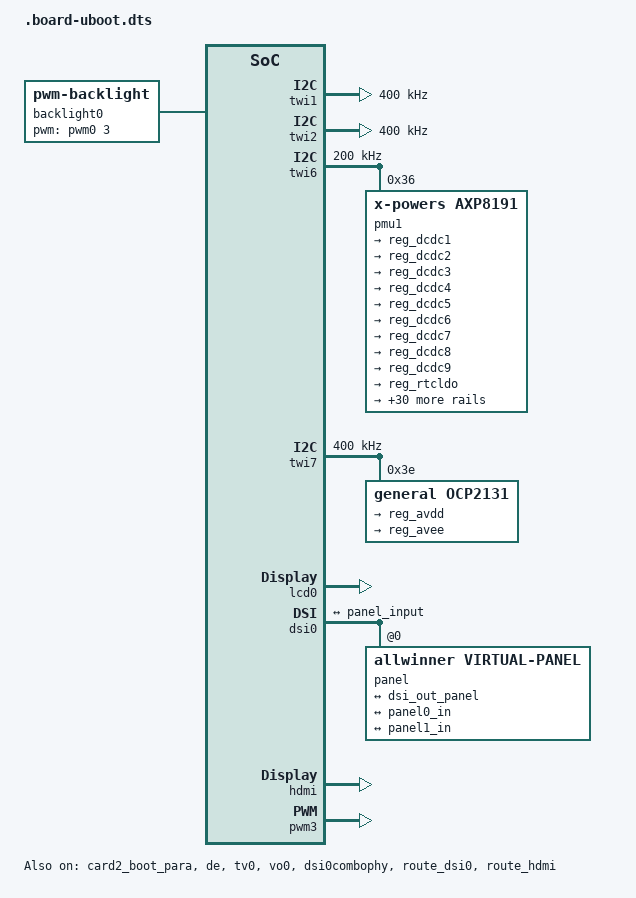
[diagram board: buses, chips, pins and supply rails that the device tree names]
/*
 * Allwinner Technology CO., Ltd. sun60iw2p1 soc board.
 *
 * soc board support.
 */

/ {
	backlight0: backlight0 {
		compatible = "pwm-backlight";
		status = "okay";
		brightness-levels = <
			  0   1   2   3   4   5   6   7
			  8   9  10  11  12  13  14  15
			 16  17  18  19  20  21  22  23
			 24  25  26  27  28  29  30  31
			 32  33  34  35  36  37  38  39
			 40  41  42  43  44  45  46  47
			 48  49  50  51  52  53  54  55
			 56  57  58  59  60  61  62  63
			 64  65  66  67  68  69  70  71
			 72  73  74  75  76  77  78  79
			 80  81  82  83  84  85  86  87
			 88  89  90  91  92  93  94  95
			 96  97  98  99 100 101 102 103
			104 105 106 107 108 109 110 111
			112 113 114 115 116 117 118 119
			120 121 122 123 124 125 126 127
			128 129 130 131 132 133 134 135
			136 137 138 139 140 141 142 143
			144 145 146 147 148 149 150 151
			152 153 154 155 156 157 158 159
			160 161 162 163 164 165 166 167
			168 169 170 171 172 173 174 175
			176 177 178 179 180 181 182 183
			184 185 186 187 188 189 190 191
			192 193 194 195 196 197 198 199
			200 201 202 203 204 205 206 207
			208 209 210 211 212 213 214 215
			216 217 218 219 220 221 222 223
			224 225 226 227 228 229 230 231
			232 233 234 235 236 237 238 239
			240 241 242 243 244 245 246 247
			248 249 250 251 252 253 254 255>;
		default-brightness-level = <73>;
		pwms = <&pwm0 3 25000 0>;
	};

	panel_0: panel_0@0 {
		status = "okay";
		power-delay-ms = <10>;
		power0-supply = <&reg_dc1sw1>;
		power1-supply = <&reg_bldo2>;

		enable0-gpios = <&pio PH 19 1 0 3 1>;
		enable1-gpios = <&pio PH 9 1 0 3 1>;
		enable2-gpios = <&pio PH 10 1 0 3 1>;
		// reset-num = <2>;
		// reset-delay-ms = <10>;
		reset-on-sequence = <1 10>, <0 10>, <1 10>, <0 10>, <1 120>;
		reset-off-sequence = <0 120>;
		reset-gpios = <&pio PD 15 1 0 3 1>;
		backlight = <&backlight0>;
		width-mm = <143>;
		height-mm = <238>;
		// panel-id-value = [da 83];
		dsi,flags = <MIPI_DSI_MODE_VIDEO>;
		dsi,lanes = <4>;
		dsi,format = <0>;
		panel-init-sequence = [
			39 00 04 B9 83 10 2E
			15 00 02 E9 C3
			15 00 02 D0 05
			15 00 02 E9 00
			39 00 05 D1 67 0C FF 05
			39 00 12 B1 10 FA AF AF 2D 2D A2 44 58 38 38 38 38 22 21 15 00
			39 00 03 D2 2D 2D
			39 00 11 B2 00 B0 47 80 00 2C 48 30 11 11 00 00 15 20 D7 00
			39 00 0C B4 88 64 01 01 88 64 88 64 01 90 01
			39 00 09 BA 70 03 A8 85 F2 00 C0 0D
			39 00 04 BF FC 85 80
			39 00 0f C0 23 23 22 11 A2 17 00 80 00 00 08 00 63 63
			15 00 02 C7 30
			39 00 09 C8 00 04 04 00 00 82 13 01
			39 00 06 CB 00 13 08 02 4D
			15 00 02 CC 02
			39 00 2c D3 00 00 00 00 3C 04 00 00 00 4B 40 A4 4F 2B 2B 04 04 32 10 25 00 25 32 17 AB 07 AB 32 17 B0 07 B0 00 00 21 38 01 55 21 38 01 55 0F
			39 00 2d D5 18 18 18 18 18 18 3A 3A 18 18 18 18 2A 2B 1A 1A 1B 1B 24 25 26 27 28 29 2A 2B 00 01 02 03 04 05 06 07 08 09 0A 0B 20 21 18 18 18 18
			39 00 19 D8 AA AA AA AA AA A0 AA AA AA AA AA A0 AA AA EA AA AA A0 AA AA EA AA AA A0
			39 00 2f E0 00 04 0C 12 18 25 3B 41 47 43 5D 63 69 79 76 7D 85 98 97 4A 53 5C 63 00 04 0C 12 18 25 3B 41 47 43 5D 63 69 79 76 7D 85 98 97 4A 53 5C 63
			39 00 18 E7 12 13 02 02 55 00 0E 0E 00 26 27 76 29 76 01 01 00 00 00 00 17 00 68
			15 00 02 BD 01
			39 00 05 B1 01 9B 01 31
			39 00 0b CB F4 36 12 16 C0 28 6C 85 3F 04
			39 00 0c D3 01 00 F8 00 00 11 10 00 0A 00 01
			39 00 19 D8 FF FF FF FF FF F0 FF FF FF FF FF F0 55 55 55 55 55 55 55 55 55 55 55 55
			39 00 08 E7 02 2C 01 8D 0D CD 0E
			15 00 02 BD 02
			39 00 07 B4 4E 00 33 11 33 88
			39 00 04 BF F2 00 02
			39 00 06 CB 00 03 00 01 99
			39 00 0d D8 FF FF FF FF FF F0 FF FF FF FF FF F0
			39 00 1d E7 FD 01 FD 01 00 00 24 00 00 00 00 00 00 00 00 00 00 00 00 00 00 00 00 00 81 01 02 40
			15 00 02 BD 03
			39 00 19 D8 AA AB EA AA AA A0 AA AB EA AA AA A0 AA BF EA BF FE A0 AA BF EA BF FE A0
			15 00 02 BD 00
			15 00 02 E9 CD
			15 00 02 BB 01
			15 00 02 E9 00
			39 00 03 B8 40 00
			15 00 02 BD 01
			15 00 02 B8 15
			15 00 02 BD 00
			39 00 03 E1 00 01
			39 00 03 BE 01 96
			15 00 02 D9 3F
			39 00 04 B9 00 00 00
			15 96 02 11 00
			15 32 02 29 00
		];
		panel-exit-sequence = [
			05 00 01 28
			05 78 01 10
		];

		display-timings {
			native-mode = <&timing1>;
			timing1: timing1 {
				clock-frequency = <153950000>;
				hback-porch = <22>;
				hactive = <1200>;
				hfront-porch = <28>;
				hsync-len = <8>;
				vback-porch = <38>;
				vactive = <1920>;
				vfront-porch = <72>;
				vsync-len = <8>;

				// clock-frequency = <153960480>;
				// hback-porch = <19>;
				// hactive = <1200>;
				// hfront-porch = <28>;
				// hsync-len = <8>;
				// vback-porch = <52>;
				// vactive = <1920>;
				// vfront-porch = <63>;
				// vsync-len = <8>;
			};
		};
		port {
			panel0_in: endpoint@0 {
				reg = <0>;
                                remote-endpoint = <&panel_output_0>;
                        };
		};
	};

	panel_1: panel_1@0 {
		status = "disabled";
		power-delay-ms = <50>;
		power0-supply = <&reg_bldo2>;

		enable0-gpios = <&pio PH 19 1 0 3 1>;
		enable1-gpios = <&pio PH 9 1 0 3 1>;
		enable2-gpios = <&pio PH 10 1 0 3 1>;
		reset-num = <2>;
		reset-delay-ms = <10>;
		reset-gpios = <&pio PD 15 1 0 3 1>;
		backlight = <&backlight0>;
		width-mm = <143>;
		height-mm = <238>;
		dsi,flags = <MIPI_DSI_MODE_VIDEO>;
		dsi,lanes = <4>;
		dsi,format = <0>;
		panel-init-sequence = [
			15 96 02 11 00
			15 32 02 29 00
		];

		panel-exit-sequence = [
			05 00 01 28
			05 78 01 10
		];

		display-timings {
			native-mode = <&timing0>;
			timing0: timing0 {
				clock-frequency = <156993120>;
				hback-porch = <20>;
				hactive = <1200>;
				hfront-porch = <28>;
				hsync-len = <8>;
				vback-porch = <30>;
				vactive = <1920>;
				vfront-porch = <132>;
				vsync-len = <8>;
			};
		};
		port {
			panel1_in: endpoint@0 {
				reg = <0>;
                                remote-endpoint = <&panel_output_1>;
                        };
		};
	};
};

&soc {
	key_detect_en: key_detect_en {
		key_type = "gpiokey";
		volume-down-gpios = <&pio PB 0 0 1 3 1>; /* PB0: vol- */
		volume-up-gpios = <&pio PB 1 0 1 3 1>; /* PB1: vol+ */
		active-level = <0>;
	};
};

&platform {
	eraseflag   = <1>;
	next_work   = <3>;
	debug_mode  = <4>;
};

&target {
	boot_clock = <1008>;	/*CPU boot frequency, Unit: MHz*/
	storage_type = <0xffffffff>; /*boot medium, 0-nand, 1-card0, 2-card2, -1(defualt)auto scan*/
	burn_key = <1>;		/*1:support burn key; 0:not support burn key*/
	dragonboard_test = <0>;	/*1:support card boot dragonboard; 0:not support card boot dragonboard*/
	auto_fel = <1>;
};

&power_sply {
	ntc_status = <2>;
};

&charger0 {
	pmu_safe_vol = <3400>;
	bat_bmp_type = <1>;
	ntc_cur = <60>;
	safe_temp_H = <600>;//60
	safe_temp_L = <0xFFFFFF06>; // -25 (FFFFFFFF - FA(250))
	pmu_bat_temp_para1 = <5450>; //Murata -25
	pmu_bat_temp_para2 = <3315>; //-15
	pmu_bat_temp_para3 = <2616>; //-10
	pmu_bat_temp_para4 = <2079>; //-5
	pmu_bat_temp_para5 = <1664>;//0
	pmu_bat_temp_para6 = <1340>; //5
	pmu_bat_temp_para7 = <1086>; //10
	pmu_bat_temp_para8 = <727>; //20
	pmu_bat_temp_para9 = <498>; //30
	pmu_bat_temp_para10 = <348>; //40
	pmu_bat_temp_para11 = <293>; //45
	pmu_bat_temp_para12 = <248>; //50
	pmu_bat_temp_para13 = <211>; //55
	pmu_bat_temp_para14 = <180>; //60
	pmu_bat_temp_para15 = <133>; //70
	pmu_bat_temp_para16 = <100>; //80
};

&twi1_pins_a {
	allwinner,pins = "PH2", "PH3";
	allwinner,pname = "twi1_scl", "twi1_sda";
	allwinner,function = "twi1";
	allwinner,muxsel = <2>;
	allwinner,drive = <1>;
	allwinner,pull = <1>;
};

&twi1_pins_b {
	allwinner,pins = "PH2", "PH3";
	allwinner,function = "gpio_out";
	allwinner,muxsel = <1>;
	allwinner,drive = <1>;
	allwinner,pull = <1>;
};

&twi1 {
	clock-frequency = <400000>;
	pinctrl-0 = <&twi1_pins_a>;
	pinctrl-1 = <&twi1_pins_b>;
	twi-supply = <&reg_dc1sw2>;
	status = "okay";
};

&twi2_pins_a {
       allwinner,pins = "PD22", "PD23";
       allwinner,pname = "twi0_scl", "twi0_sda";
       allwinner,function = "twi0";
       allwinner,muxsel = <7>;
       allwinner,drive = <1>;
       allwinner,pull = <1>;
};

&twi2_pins_b {
       allwinner,pins = "PD22", "PD23";
       allwinner,function = "gpio_out";
       allwinner,muxsel = <1>;
       allwinner,drive = <1>;
       allwinner,pull = <1>;
};

&twi7_pins_a {
       allwinner,pins = "PJ22", "PJ23";
       allwinner,pname = "twi7_scl", "twi7_sda";
       allwinner,function = "twi7";
       allwinner,muxsel = <6>;
       allwinner,drive = <1>;
       allwinner,pull = <1>;
};

&twi7_pins_b {
       allwinner,pins = "PJ22", "PJ23";
       allwinner,function = "gpio_out";
       allwinner,muxsel = <1>;
       allwinner,drive = <1>;
       allwinner,pull = <1>;
};

&twi2 {
	clock-frequency = <400000>;
	pinctrl-0 = <&twi2_pins_a>;
	pinctrl-1 = <&twi2_pins_b>;
	twi-supply = <&reg_bldo2>;
	status = "okay";
};

&twi6 {
	clock-frequency = <200000>;
	pinctrl-0 = <&s_twi0_pins_a>;
	pinctrl-1 = <&s_twi0_pins_b>;
	twi-supply = <&reg_aldo3>;
	status = "okay";

	pmu1: pmu@36 {
		compatible = "x-powers,axp8191";
		reg = <0x36>;
		status = "okay";
		regulator0: regulators@0 {
			reg_dcdc1: dcdc1 {
				regulator-name = "axp8191-dcdc1";
			};
			reg_dcdc2: dcdc2 {
				regulator-name = "axp8191-dcdc2";
			};
			reg_dcdc3: dcdc3 {
				regulator-name = "axp8191-dcdc3";
			};
			reg_dcdc4: dcdc4 {
				regulator-name = "axp8191-dcdc4";
			};
			reg_dcdc5: dcdc5 {
				regulator-name = "axp8191-dcdc5";
			};
			reg_dcdc6: dcdc6 {
				regulator-name = "axp8191-dcdc6";
			};
			reg_dcdc7: dcdc7 {
				regulator-name = "axp8191-dcdc7";
			};
			reg_dcdc8: dcdc8 {
				regulator-name = "axp8191-dcdc8";
			};
			reg_dcdc9: dcdc9 {
				regulator-name = "axp8191-dcdc9";
			};
			reg_rtcldo: rtcldo {
				regulator-name = "axp8191-rtcldo";
			};
			reg_aldo1: aldo1 {
				regulator-name = "axp8191-aldo1";
			};
			reg_aldo2: aldo2 {
				regulator-name = "axp8191-aldo2";
			};
			reg_aldo3: aldo3 {
				regulator-name = "axp8191-aldo3";
			};
			reg_aldo4: aldo4 {
				regulator-name = "axp8191-aldo4";
			};
			reg_aldo5: aldo5 {
				regulator-name = "axp8191-aldo5";
			};
			reg_aldo6: aldo6 {
				regulator-name = "axp8191-aldo6";
			};
			reg_bldo1: bldo1 {
				regulator-name = "axp8191-bldo1";
			};
			reg_bldo2: bldo2 {
				regulator-name = "axp8191-bldo2";
			};
			reg_bldo3: bldo3 {
				regulator-name = "axp8191-bldo3";
			};
			reg_bldo4: bldo4 {
				regulator-name = "axp8191-bldo4";
			};
			reg_bldo5: bldo5 {
				regulator-name = "axp8191-bldo5";
			};
			reg_cldo1: cldo1 {
				regulator-name = "axp8191-cldo1";
			};
			reg_cldo2: cldo2 {
				regulator-name = "axp8191-cldo2";
			};
			reg_cldo3: cldo3 {
				regulator-name = "axp8191-cldo3";
			};
			reg_cldo4: cldo4 {
				regulator-name = "axp8191-cldo4";
			};
			reg_cldo5: cldo5 {
				regulator-name = "axp8191-cldo5";
			};
			reg_dldo1: dldo1 {
				regulator-name = "axp8191-dldo1";
			};
			reg_dldo2: dldo2 {
				regulator-name = "axp8191-dldo2";
			};
			reg_dldo3: dldo3 {
				regulator-name = "axp8191-dldo3";
			};
			reg_dldo4: dldo4 {
				regulator-name = "axp8191-dldo4";
			};
			reg_dldo5: dldo5 {
				regulator-name = "axp8191-dldo5";
			};
			reg_dldo6: dldo6 {
				regulator-name = "axp8191-dldo6";
			};
			reg_eldo1: eldo1 {
				regulator-name = "axp8191-eldo1";
			};
			reg_eldo2: eldo2 {
				regulator-name = "axp8191-eldo2";
			};
			reg_eldo3: eldo3 {
				regulator-name = "axp8191-eldo3";
			};
			reg_eldo4: eldo4 {
				regulator-name = "axp8191-eldo4";
			};
			reg_eldo5: eldo5 {
				regulator-name = "axp8191-eldo5";
			};
			reg_eldo6: eldo6 {
				regulator-name = "axp8191-eldo6";
			};
			reg_dc1sw1: dc1sw1 {
				regulator-name = "axp8191-dc1sw1";
				swin-supply = <&reg_dcdc1>;
			};
			reg_dc1sw2: dc1sw2 {
				regulator-name = "axp8191-dc1sw2";
				swin-supply = <&reg_dcdc1>;
			};
		};
	};
};

&twi7 {
	clock-frequency = <400000>;
	pinctrl-0 = <&twi7_pins_a>;
	pinctrl-1 = <&twi7_pins_b>;
	twi-supply = <&reg_bldo2>;
	status = "okay";

	ocp2131: ocp2131@3e {
		compatible = "general,ocp2131";
		reg = <0x3e>;
		status = "okay";
		regulator1: regulators@1 {
			reg_avdd: ocp2131-avdd {
				regulator-name = "ocp2131-avdd";
			};
			reg_avee: ocp2131-avee {
				regulator-name = "ocp2131-avee";
			};
		};
	};
};

&sdc0_pins_a {
		allwinner,pins = "PF0", "PF1",
				 "PF3", "PF4", "PF5";
		allwinner,function = "sdc0";
		allwinner,muxsel = <2>;
		allwinner,drive = <0>;
		allwinner,pull = <1>;
};

&sdc0_pins_b {
		allwinner,pins = "PF2";
		allwinner,function = "sdc0";
		allwinner,muxsel = <2>;
		allwinner,drive = <2>;
		allwinner,pull = <1>;
};

&sdc0_pins_c {
		allwinner,pins = "PF0", "PF1", "PF2",
		  		 "PF3", "PF4", "PF5";
		allwinner,function = "uart0_jtag";
		allwinner,muxsel = <3>;
		allwinner,drive = <0>;
		allwinner,pull = <1>;
};

&sdc2_pins_a {
		allwinner,pins = "PC6",
				 "PC8", "PC9", "PC10", "PC11",
				 "PC13", "PC14", "PC15", "PC16";
		allwinner,function = "sdc2";
		allwinner,muxsel = <3>;
		allwinner,drive = <1>;
		allwinner,pull = <1>;
};

&sdc2_pins_c {
		allwinner,pins = "PC0";
		allwinner,function = "sdc2";
		allwinner,muxsel = <3>;
		allwinner,drive = <3>;
		allwinner,pull = <2>;
};

&sdc2_pins_b {
		allwinner,pins = "PC1", "PC5";
		allwinner,function = "sdc2";
		allwinner,muxsel = <3>;
		allwinner,drive = <3>;
		allwinner,pull = <1>;
};

&pwm3_pin_active {
		allwinner,pins = "PD21";
		allwinner,function = "pwm0_3";
		allwinner,muxsel = <0x9>;
		allwinner,drive = <3>;
		allwinner,pull = <2>;
};

&pwm3_pin_sleep {
		allwinner,pins = "PD21";
		allwinner,function = "io_disabled";
		allwinner,muxsel = <0xf>;
		allwinner,drive = <3>;
		allwinner,pull = <2>;
};

&pwm4_pin_active {
		allwinner,pins = "PD22";
		allwinner,function = "pwm0_4";
		allwinner,muxsel = <0x2>;
		allwinner,drive = <3>;
		allwinner,pull = <2>;
};

&pwm4_pin_sleep {
		allwinner,pins = "PD22";
		allwinner,function = "io_disabled";
		allwinner,muxsel = <0xf>;
		allwinner,drive = <3>;
		allwinner,pull = <2>;
};

&card0_boot_para {
		/* Avoid dtc compiling warnings. @TODO: Developer should modify this to the actual value */
		/* reg = <0x0 0x2 0x0 0x0>;  [> Avoid dtc compiling warnings. @TODO: Developer should modify this to the actual value <] */
	device_type = "card0_boot_para";
	card_ctrl = <0x0>;
	card_high_speed = <0x1>;
	card_line = <0x4>;
	clk_mmc = "sdmmc0_mod";
	pll-0 = "hosc";
	pll-1 = "pll_periph1_400m";
	pll-2 = "pll_periph1_300m";
	pinctrl-0 = <&sdc0_pins_a &sdc0_pins_b>;
	clk_type = "typ1";
};

&card2_boot_para {
	/*
	* Avoid dtc compiling warnings.
	* @TODO: Developer should modify this to the actual value
	*/
	reg = <0x0 0x3 0x0 0x0>;
	device_type = "card2_boot_para";
	card_ctrl = <0x2>;
	card_high_speed = <0x1>;
	card_line = <0x8>;
	clk_mmc = "sdmmc2_mod";
	pll-0 = "hosc";
	pll-1 = "pll_periph1_800m";
	pll-2 = "pll_periph1_600m";
	pinctrl-0 = <&sdc2_pins_a &sdc2_pins_c &sdc2_pins_b>;
	sdc_ex_dly_used = <0x2>;
	sdc_tm4_hs200_max_freq = <200>;
	sdc_tm4_hs400_max_freq = <200>;
	sdc_tm4_win_th = <0x7>;
	sdc_io_1v8 = <0x1>;
	sdc_type = "tm4";
	clk_type = "typ1";
	status = "okay";
};

&key_boot_recovery {
	device_type = "key_boot_recovery";
	recovery_key_used = <0x1>;
	press_mode_enable = <0x0>;
	key_work_mode = <0x2>;
	short_press_mode = <0x0>;
	long_press_mode = <0x1>;
	key_press_time = <0x7d0>;
	recovery_key = <&pio PL 8 0 1 3 1>; // KEY HOME
};

&de {
	chn_cfg_mode = <2>;
	status = "okay";
};

&tv0 {
	status = "okay";
};

&clk_de0 {
    assigned-clock-rates = <696000000>;
};

&vo0 {
	status = "okay";
};

&lcd0 {
	status = "okay";
};

&dsi0 {
	status = "okay";
	pinctrl-0 = <&dsi0_4lane_pins_a>;
	pinctrl-1 = <&dsi0_4lane_pins_b>;
	pinctrl-names = "active","sleep";
	ports {
		dsi0_out: port@1{
			dsi_out_panel: endpoint {
				remote-endpoint = <&panel_input>;
			};
		};
	};
	panel: panel@0 {
		compatible = "allwinner,virtual-panel";
		status = "okay";
		reg = <0>;
		ports {
			panel_in: port@0 {
				reg = <0>;
				panel_input: endpoint@0 {
					reg = <0>;
					remote-endpoint = <&dsi_out_panel>;
				};
			};
			panel_out: port@1 {
				reg = <1>;
				panel_output_0: endpoint@0 {
					reg = <0>;
					remote-endpoint = <&panel0_in>;
				};
				panel_output_1: endpoint@1 {
					reg = <1>;
					remote-endpoint = <&panel1_in>;
				};
			};
		};
	};
};

&dsi0combophy {
	status = "okay";
};

&route_dsi0 {
	status = "okay";
	logo,uboot = "bootlogo.bmp";
};

&route_lvds0 {
	status = "disabled";
};

&route_hdmi {
	status = "okay";
};

&hdmi {
	uhdmi_fast_output = <1>;
	status = "okay";
};

&pwm3{
	pinctrl-names = "active","sleep";
	pinctrl-0 = <&pwm3_pin_active>;
	pinctrl-1 = <&pwm3_pin_sleep>;
	status = "okay";
};

&pwm4{
	pinctrl-names = "active","sleep";
	pinctrl-0 = <&pwm4_pin_active>;
	pinctrl-1 = <&pwm4_pin_sleep>;
	status = "disabled";
};

&aliases {
	ocp2131 = &ocp2131;
};

&dram_para_select_pin {
	allwinner,pins = "PH16";
	allwinner,function = "gpio_in";
	allwinner,muxsel = <0>;
	allwinner,drive = <0>;
	allwinner,pull = <1>;
};

&sunxi_dram_para_select {
	pinctrl-0 = <&dram_para_select_pin>;
	select_mode   = <3>;
	gpadc_channel = <1>;
	status = "okay";
};

&hdmi {
	dcdc2-supply = <&reg_dcdc2>;
	hdmi_power0 = "dcdc2";
	hdmi_power_cnt = <1>;

	/*
	 * @uhdmi_fast_output: config uboot hdmi boot mode
	 *	- 1: use fast output mode. will only output 1080P video.
	 *	- 0: use compatible output mode. will read edid and check config mode
	 * @uhdmi_resistor_select: select hdmi resistor config. Actual onboard config!!!
	 *	- 1: use onboard resistor
	 *	- 0: use onchip resistor
	 */
	uhdmi_fast_output = <0>;
	uhdmi_resistor_select = <1>;

	snps_phy = <
		 25000 165000 0x0007 0x280 0x8082
		165000 340000 0x0004 0x8240 0x80C3
		340000 600000 0x0000 0x200 0x80F9>;

	status = "okay";
};
